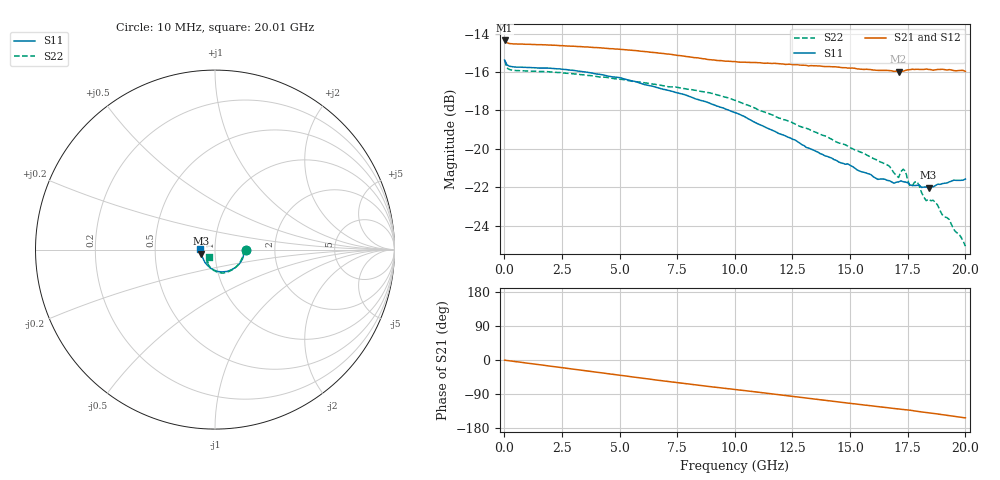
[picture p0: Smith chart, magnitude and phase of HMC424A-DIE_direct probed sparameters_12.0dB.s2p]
!s2p File: Measurements: S11, S21, S12, S22
# GHz S dB R 50.0
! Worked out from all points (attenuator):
!   201 points, 10 MHz to 20.01 GHz, reference 50 ohm
!   highest |S21| = -14.35 dB at 10 MHz (marker M1); lowest = -16.0 dB at 17.11 GHz (marker M2)
!   lowest |S11| = -22.0 dB at 18.41 GHz (marker M3), VSWR 1.17, Z = 42.9 - j1.89 ohm
!   |S11| at or under -10 dB: start of sweep to end of sweep
!   |S22| runs from -25.1 to -15.4 dB; largest |S21 - S12| = 0.0017
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0.01  -15.37 -0.7  -14.35 -0.5  -14.36 -0.4  -15.38 -1.2
0.11  -15.62 -1.8  -14.47 -1.4  -14.47 -1.4  -15.78 -2.2
0.31  -15.71 -2.9  -14.52 -2.8  -14.51 -2.8  -15.89 -3.2
3.41  -15.98 -26.2  -14.68 -27.7  -14.67 -27.7  -16.14 -27.2
6.71  -16.83 -52.5  -15.01 -53.7  -15.01 -53.7  -16.67 -51.8
8.91  -17.62 -71.0  -15.35 -70.1  -15.34 -70.1  -17.08 -68.1
10.01  -18.11 -80.9  -15.45 -77.8  -15.46 -77.7  -17.47 -76.4
13.41  -20.06 -112.3  -15.67 -102.5  -15.68 -102.5  -19.09 -97.3
16.21  -21.59 -140.8  -15.91 -123.0  -15.88 -123.0  -20.59 -112.5
16.71  -21.66 -146.2  -15.92 -126.5  -15.91 -126.6  -20.90 -115.8
17.11  -21.72 -149.7  -15.97 -129.3  -15.91 -129.3  -21.49 -115.7
17.31  -21.71 -152.2  -15.95 -130.5  -15.94 -130.8  -21.06 -117.4
17.41  -21.73 -153.3  -15.91 -131.1  -15.93 -131.6  -21.16 -120.5
17.61  -21.88 -155.3  -15.87 -132.5  -15.91 -133.0  -21.95 -120.6
17.91  -21.90 -157.7  -15.85 -135.3  -15.89 -135.3  -21.70 -121.6
18.21  -21.99 -161.6  -15.86 -137.7  -15.90 -137.7  -22.52 -123.7
18.31  -21.99 -163.0  -15.84 -138.6  -15.88 -138.5  -22.70 -123.2
18.41  -22.02 -163.9  -15.86 -139.3  -15.89 -139.3  -22.62 -122.7
18.71  -21.91 -166.6  -15.88 -141.7  -15.88 -141.5  -22.79 -125.2
19.01  -21.81 -170.6  -15.85 -144.2  -15.88 -144.2  -23.44 -126.8
19.31  -21.72 -173.9  -15.87 -146.7  -15.86 -146.6  -23.68 -128.1
20.01  -21.57 177.9  -15.96 -152.8  -15.94 -152.7  -25.07 -128.5
